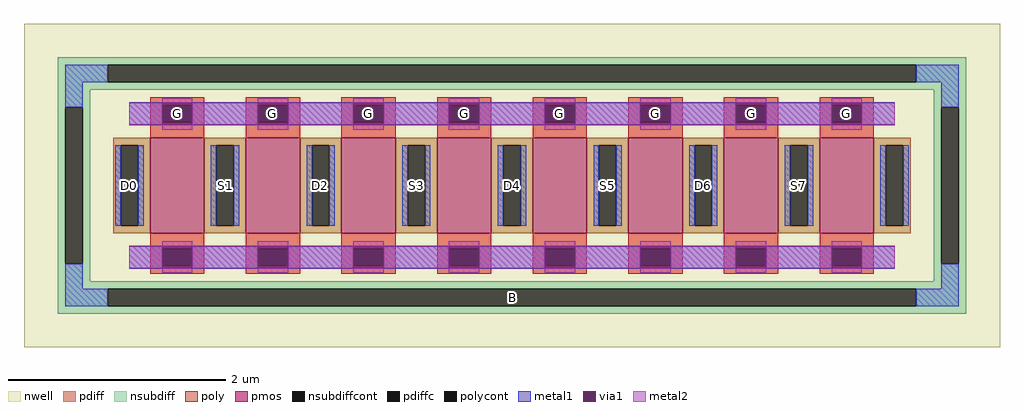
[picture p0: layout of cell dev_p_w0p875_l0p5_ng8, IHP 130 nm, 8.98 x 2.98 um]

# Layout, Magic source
magic
tech ihp-sg13cmos5l
magscale 1 2
<< nwell >>
rect -898 -298 898 298
<< pmos >>
rect -666 -88 -566 88
rect -490 -88 -390 88
rect -314 -88 -214 88
rect -138 -88 -38 88
rect 38 -88 138 88
rect 214 -88 314 88
rect 390 -88 490 88
rect 566 -88 666 88
<< pdiff >>
rect -734 74 -666 88
rect -734 -74 -720 74
rect -688 -74 -666 74
rect -734 -88 -666 -74
rect -566 74 -490 88
rect -566 -74 -544 74
rect -512 -74 -490 74
rect -566 -88 -490 -74
rect -390 74 -314 88
rect -390 -74 -368 74
rect -336 -74 -314 74
rect -390 -88 -314 -74
rect -214 74 -138 88
rect -214 -74 -192 74
rect -160 -74 -138 74
rect -214 -88 -138 -74
rect -38 74 38 88
rect -38 -74 -16 74
rect 16 -74 38 74
rect -38 -88 38 -74
rect 138 74 214 88
rect 138 -74 160 74
rect 192 -74 214 74
rect 138 -88 214 -74
rect 314 74 390 88
rect 314 -74 336 74
rect 368 -74 390 74
rect 314 -88 390 -74
rect 490 74 566 88
rect 490 -74 512 74
rect 544 -74 566 74
rect 490 -88 566 -74
rect 666 74 734 88
rect 666 -74 688 74
rect 720 -74 734 74
rect 666 -88 734 -74
<< pdiffc >>
rect -720 -74 -688 74
rect -544 -74 -512 74
rect -368 -74 -336 74
rect -192 -74 -160 74
rect -16 -74 16 74
rect 160 -74 192 74
rect 336 -74 368 74
rect 512 -74 544 74
rect 688 -74 720 74
<< nsubdiff >>
rect -836 222 836 236
rect -836 190 -744 222
rect 744 190 836 222
rect -836 176 836 190
rect -836 144 -776 176
rect -836 -144 -822 144
rect -790 -144 -776 144
rect 776 144 836 176
rect -836 -176 -776 -144
rect 776 -144 790 144
rect 822 -144 836 144
rect 776 -176 836 -144
rect -836 -190 836 -176
rect -836 -222 -744 -190
rect 744 -222 836 -190
rect -836 -236 836 -222
<< nsubdiffcont >>
rect -744 190 744 222
rect -822 -144 -790 144
rect 790 -144 822 144
rect -744 -222 744 -190
<< poly >>
rect -666 148 -566 162
rect -666 116 -644 148
rect -588 116 -566 148
rect -666 88 -566 116
rect -490 148 -390 162
rect -490 116 -468 148
rect -412 116 -390 148
rect -490 88 -390 116
rect -314 148 -214 162
rect -314 116 -292 148
rect -236 116 -214 148
rect -314 88 -214 116
rect -138 148 -38 162
rect -138 116 -116 148
rect -60 116 -38 148
rect -138 88 -38 116
rect 38 148 138 162
rect 38 116 60 148
rect 116 116 138 148
rect 38 88 138 116
rect 214 148 314 162
rect 214 116 236 148
rect 292 116 314 148
rect 214 88 314 116
rect 390 148 490 162
rect 390 116 412 148
rect 468 116 490 148
rect 390 88 490 116
rect 566 148 666 162
rect 566 116 588 148
rect 644 116 666 148
rect 566 88 666 116
rect -666 -116 -566 -88
rect -666 -148 -644 -116
rect -588 -148 -566 -116
rect -666 -162 -566 -148
rect -490 -116 -390 -88
rect -490 -148 -468 -116
rect -412 -148 -390 -116
rect -490 -162 -390 -148
rect -314 -116 -214 -88
rect -314 -148 -292 -116
rect -236 -148 -214 -116
rect -314 -162 -214 -148
rect -138 -116 -38 -88
rect -138 -148 -116 -116
rect -60 -148 -38 -116
rect -138 -162 -38 -148
rect 38 -116 138 -88
rect 38 -148 60 -116
rect 116 -148 138 -116
rect 38 -162 138 -148
rect 214 -116 314 -88
rect 214 -148 236 -116
rect 292 -148 314 -116
rect 214 -162 314 -148
rect 390 -116 490 -88
rect 390 -148 412 -116
rect 468 -148 490 -116
rect 390 -162 490 -148
rect 566 -116 666 -88
rect 566 -148 588 -116
rect 644 -148 666 -116
rect 566 -162 666 -148
<< polycont >>
rect -644 116 -588 148
rect -468 116 -412 148
rect -292 116 -236 148
rect -116 116 -60 148
rect 60 116 116 148
rect 236 116 292 148
rect 412 116 468 148
rect 588 116 644 148
rect -644 -148 -588 -116
rect -468 -148 -412 -116
rect -292 -148 -236 -116
rect -116 -148 -60 -116
rect 60 -148 116 -116
rect 236 -148 292 -116
rect 412 -148 468 -116
rect 588 -148 644 -116
<< metal1 >>
rect -822 190 -744 222
rect 744 190 822 222
rect -822 144 -790 190
rect -704 152 704 153
rect -704 112 -644 152
rect -588 112 -468 152
rect -412 112 -292 152
rect -236 112 -116 152
rect -60 112 60 152
rect 116 112 236 152
rect 292 112 412 152
rect 468 112 588 152
rect 644 112 704 152
rect -704 111 704 112
rect 790 144 822 190
rect -730 -74 -720 74
rect -688 -74 -678 74
rect -554 -74 -544 74
rect -512 -74 -502 74
rect -378 -74 -368 74
rect -336 -74 -326 74
rect -202 -74 -192 74
rect -160 -74 -150 74
rect -26 -74 -16 74
rect 16 -74 26 74
rect 150 -74 160 74
rect 192 -74 202 74
rect 326 -74 336 74
rect 368 -74 378 74
rect 502 -74 512 74
rect 544 -74 554 74
rect 678 -74 688 74
rect 720 -74 730 74
rect -822 -190 -790 -144
rect -704 -112 704 -111
rect -704 -152 -644 -112
rect -588 -152 -468 -112
rect -412 -152 -292 -112
rect -236 -152 -116 -112
rect -60 -152 60 -112
rect 116 -152 236 -112
rect 292 -152 412 -112
rect 468 -152 588 -112
rect 644 -152 704 -112
rect -704 -153 704 -152
rect 790 -190 822 -144
rect -822 -222 -744 -190
rect 744 -222 822 -190
<< via1 >>
rect -644 148 -588 152
rect -644 116 -588 148
rect -644 112 -588 116
rect -468 148 -412 152
rect -468 116 -412 148
rect -468 112 -412 116
rect -292 148 -236 152
rect -292 116 -236 148
rect -292 112 -236 116
rect -116 148 -60 152
rect -116 116 -60 148
rect -116 112 -60 116
rect 60 148 116 152
rect 60 116 116 148
rect 60 112 116 116
rect 236 148 292 152
rect 236 116 292 148
rect 236 112 292 116
rect 412 148 468 152
rect 412 116 468 148
rect 412 112 468 116
rect 588 148 644 152
rect 588 116 644 148
rect 588 112 644 116
rect -644 -116 -588 -112
rect -644 -148 -588 -116
rect -644 -152 -588 -148
rect -468 -116 -412 -112
rect -468 -148 -412 -116
rect -468 -152 -412 -148
rect -292 -116 -236 -112
rect -292 -148 -236 -116
rect -292 -152 -236 -148
rect -116 -116 -60 -112
rect -116 -148 -60 -116
rect -116 -152 -60 -148
rect 60 -116 116 -112
rect 60 -148 116 -116
rect 60 -152 116 -148
rect 236 -116 292 -112
rect 236 -148 292 -116
rect 236 -152 292 -148
rect 412 -116 468 -112
rect 412 -148 468 -116
rect 412 -152 468 -148
rect 588 -116 644 -112
rect 588 -148 644 -116
rect 588 -152 644 -148
<< metal2 >>
rect -644 152 -588 161
rect -468 152 -412 161
rect -292 152 -236 161
rect -116 152 -60 161
rect 60 152 116 161
rect 236 152 292 161
rect 412 152 468 161
rect 588 152 644 161
rect -704 112 -644 152
rect -588 112 -468 152
rect -412 112 -292 152
rect -236 112 -116 152
rect -60 112 60 152
rect 116 112 236 152
rect 292 112 412 152
rect 468 112 588 152
rect 644 112 704 152
rect -644 103 -588 112
rect -468 103 -412 112
rect -292 103 -236 112
rect -116 103 -60 112
rect 60 103 116 112
rect 236 103 292 112
rect 412 103 468 112
rect 588 103 644 112
rect -644 -112 -588 -103
rect -468 -112 -412 -103
rect -292 -112 -236 -103
rect -116 -112 -60 -103
rect 60 -112 116 -103
rect 236 -112 292 -103
rect 412 -112 468 -103
rect 588 -112 644 -103
rect -704 -152 -644 -112
rect -588 -152 -468 -112
rect -412 -152 -292 -112
rect -236 -152 -116 -112
rect -60 -152 60 -112
rect 116 -152 236 -112
rect 292 -152 412 -112
rect 468 -152 588 -112
rect 644 -152 704 -112
rect -644 -161 -588 -152
rect -468 -161 -412 -152
rect -292 -161 -236 -152
rect -116 -161 -60 -152
rect 60 -161 116 -152
rect 236 -161 292 -152
rect 412 -161 468 -152
rect 588 -161 644 -152
<< labels >>
rlabel nsubdiffcont 0 -206 0 -206 0 B
port 1 nsew
rlabel pdiffc -704 0 -704 0 0 D0
port 2 nsew
rlabel polycont -616 132 -616 132 0 G
port 3 nsew
rlabel pdiffc -528 0 -528 0 0 S1
port 4 nsew
rlabel polycont -440 132 -440 132 0 G
port 3 nsew
rlabel pdiffc -352 0 -352 0 0 D2
port 5 nsew
rlabel polycont -264 132 -264 132 0 G
port 3 nsew
rlabel pdiffc -176 0 -176 0 0 S3
port 6 nsew
rlabel polycont -88 132 -88 132 0 G
port 3 nsew
rlabel pdiffc 0 0 0 0 0 D4
port 7 nsew
rlabel polycont 88 132 88 132 0 G
port 3 nsew
rlabel pdiffc 176 0 176 0 0 S5
port 8 nsew
rlabel polycont 264 132 264 132 0 G
port 3 nsew
rlabel pdiffc 352 0 352 0 0 D6
port 9 nsew
rlabel polycont 440 132 440 132 0 G
port 3 nsew
rlabel pdiffc 528 0 528 0 0 S7
port 10 nsew
rlabel polycont 616 132 616 132 0 G
port 3 nsew
<< properties >>
string FIXED_BBOX -806 -206 806 206
string gencell sg13_lv_pmos
string library sg13cmos5l
string parameters w 0.875 l 0.5 m 1 ng 8 diffcov 100 polycov 100 guard 1 glc 1 grc 1 gtc 1 gbc 1 tbcov 100 rlcov 100 topc 1 botc 1 poverlap 0 doverlap 1 lmin 0.13 wmin 0.15 class mosfet compatible {sg13_lv_pmos sg13_hv_pmos} full_metal 1 conn_gates 1 gate_ring 0 ccols 1 viasrc 0 viadrn 0 viagate 100 viagb 0 viagr 0 viagl 0 viagt 0 doports 1
<< end >>
